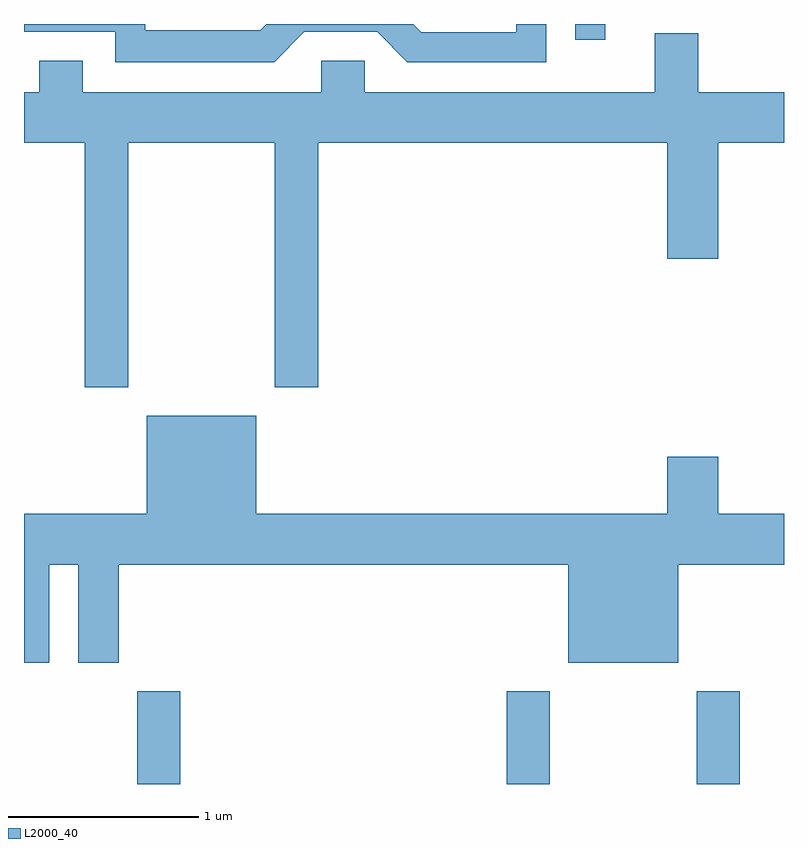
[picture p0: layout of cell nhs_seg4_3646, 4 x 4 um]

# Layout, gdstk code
import gdstk
lib = gdstk.Library(unit=1e-6, precision=1e-09)
def R(c, l, rs):  # rectangles x0, y0, x1, y1
    for r in rs: c.add(gdstk.rectangle(r[:2], r[2:], *l))
def P(c, l, *ps):  # polygons
    for p in ps: c.add(gdstk.Polygon(p, *l))
L2000_40 = (2000, 40)

nhs_seg4_3646 = lib.new_cell('nhs_seg4_3646')
R(nhs_seg4_3646, L2000_40, [(292.206,1337.982,292.434,1338.469), (294.151,1337.982,294.379,1338.469), (295.151,1337.982,295.379,1338.469), (294.511,1341.898,294.669,1341.982)])
P(nhs_seg4_3646, L2000_40, [(293.087,1341.941),(293.469,1341.941),(293.629,1341.781),(294.359,1341.781),(294.359,1341.982),(294.201,1341.982),(294.201,1341.939),(293.702,1341.939),(293.659,1341.982),(292.887,1341.982),(292.854,1341.949),(292.249,1341.949),(292.249,1341.982),(291.611,1341.982),(291.611,1341.941),(292.091,1341.941),(292.091,1341.781),(292.927,1341.781)],
  [(294.931,1341.934),(294.931,1341.624),(293.404,1341.624),(293.404,1341.789),(293.176,1341.789),(293.176,1341.624),(291.919,1341.624),(291.919,1341.789),(291.691,1341.789),(291.691,1341.624),(291.611,1341.624),(291.611,1341.356),(291.931,1341.356),(291.931,1340.071),(292.159,1340.071),(292.159,1341.356),(292.931,1341.356),(292.931,1340.071),(293.159,1340.071),(293.159,1341.356),(294.996,1341.356),(294.996,1340.746),(295.264,1340.746),(295.264,1341.356),(295.611,1341.356),(295.611,1341.624),(295.159,1341.624),(295.159,1341.934)],
  [(291.744,1339.136),(291.896,1339.136),(291.896,1338.621),(292.109,1338.621),(292.109,1339.136),(294.476,1339.136),(294.476,1338.621),(295.054,1338.621),(295.054,1339.136),(295.611,1339.136),(295.611,1339.404),(295.264,1339.404),(295.264,1339.704),(294.996,1339.704),(294.996,1339.404),(292.834,1339.404),(292.834,1339.919),(292.256,1339.919),(292.256,1339.404),(291.611,1339.404),(291.611,1338.621),(291.744,1338.621)])

lib.write_gds('nhs_seg4_3646.gds')
